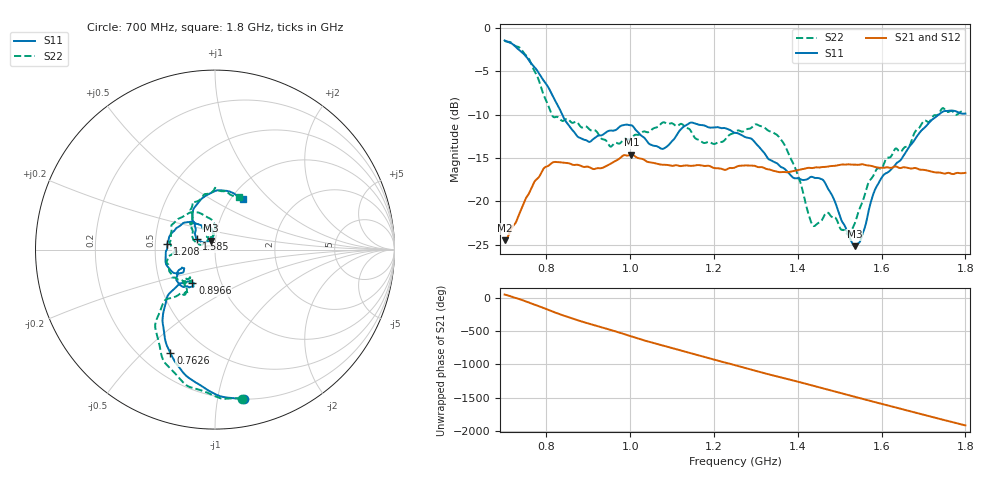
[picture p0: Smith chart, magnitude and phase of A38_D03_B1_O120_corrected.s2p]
! Created with skrf 1.9.0 (http://scikit-rf.org).
# Hz S RI R 50.0
!freq ReS11 ImS11 ReS21 ImS21 ReS12 ImS12 ReS22 ImS22
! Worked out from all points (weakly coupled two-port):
!   1601 points, 700 MHz to 1.8 GHz, reference 50 ohm
!   highest |S21| = -14.61 dB at 1.002 GHz (marker M1); lowest = -24.5 dB at 701.4 MHz (marker M2)
!   lowest |S11| = -25.2 dB at 1.535 GHz (marker M3), VSWR 1.12, Z = 47.6 + j4.82 ohm
!   |S11| at or under -10 dB: 837.6 MHz to 1.736 GHz (898.5 MHz wide, 69.8 % of centre)
!   |S22| runs from -23.9 to -1.5 dB; largest |S21 - S12| = 0.0034
!   S11 on the Smith chart (normalised r, x): 700 MHz: 0.20, -1.19; 762.6 MHz: 0.32, -0.61; 896.6 MHz: 0.73, -0.28; 1.208 GHz: 0.58, +0.04; 1.585 GHz: 0.81, +0.09; 1.8 GHz: 1.13, +0.71
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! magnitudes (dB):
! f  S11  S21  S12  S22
! 700 MHz  -1.4  -24.5  -24.3  -1.5
! 701.4 MHz  -1.5  -24.5  -24.1  -1.5
! 762.6 MHz  -4.0  -18.7  -18.6  -4.0
! 814.8 MHz  -7.8  -15.5  -15.6  -10.2
! 883.6 MHz  -12.7  -16.0  -15.8  -11.5
! 896.6 MHz  -13.0  -16.0  -16.1  -11.4
! 953 MHz  -11.8  -15.7  -15.7  -13.7
! 1.002 GHz  -11.2  -14.6  -14.7  -12.7
! 1.067 GHz  -13.7  -15.7  -15.7  -11.4
! 1.143 GHz  -10.9  -15.9  -15.9  -11.8
! 1.208 GHz  -11.4  -16.2  -16.2  -13.2
! 1.25 GHz  -12.1  -16.1  -16.0  -12.0
! 1.357 GHz  -15.9  -16.6  -16.6  -12.7
! 1.395 GHz  -17.3  -16.5  -16.4  -16.3
! 1.434 GHz  -17.2  -16.2  -16.1  -22.6
! 1.464 GHz  -17.8  -16.0  -16.0  -21.5
! 1.52 GHz  -23.8  -15.7  -15.8  -23.9
! 1.535 GHz  -25.2  -15.8  -15.8  -22.6
! 1.585 GHz  -18.6  -16.0  -16.0  -16.6
! 1.617 GHz  -16.6  -16.1  -16.1  -15.0
! 1.738 GHz  -9.9  -16.7  -16.7  -9.8
! 1.8 GHz  -9.9  -16.7  -16.7  -9.9
